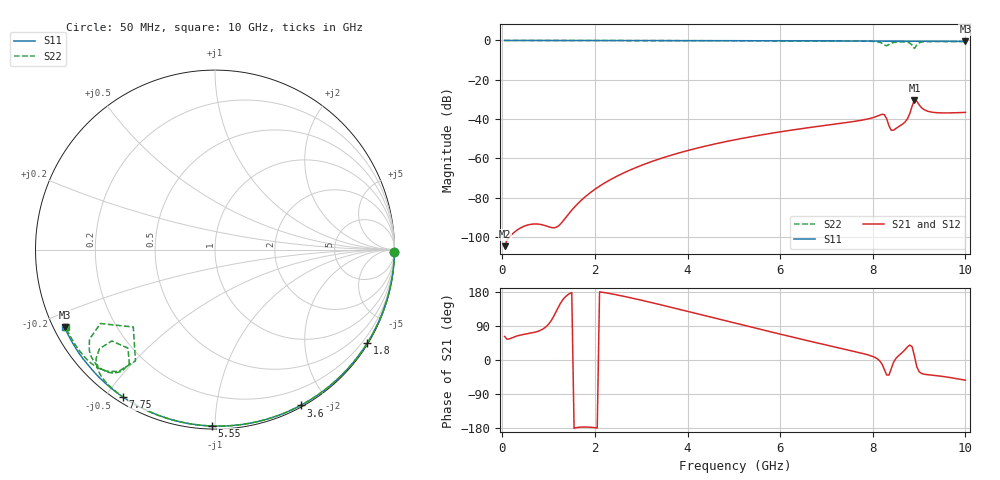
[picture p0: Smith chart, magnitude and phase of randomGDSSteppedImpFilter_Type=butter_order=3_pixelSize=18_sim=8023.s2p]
! freq	dB(S11)	phase(S11)	dB(S12)	phase(S12)
!  dB(S21)	phase(S21)	dB(S22)	phase(S22)
!S-par simulation data
#  GHz  S  DB  R 50
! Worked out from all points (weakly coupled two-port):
!   200 points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, 50 MHz to 10 GHz, reference 50 ohm
!   highest |S21| = -30.29 dB at 8.9 GHz (marker M1); lowest = -104.7 dB at 50 MHz (marker M2)
!   lowest |S11| = -0.5 dB at 10 GHz (marker M3), VSWR 34.12, Z = 1.55 - j12.2 ohm
!   |S11| at or under -10 dB: nowhere
!   |S22| runs from -4.1 to 0.0 dB; largest |S21 - S12| = 0
!   S11 on the Smith chart (normalised r, x): 50 MHz: open; 1.8 GHz: 0.03, -3.55; 3.6 GHz: 0.02, -1.69; 5.55 GHz: 0.02, -0.98; 7.75 GHz: 0.02, -0.55; 10 GHz: 0.03, -0.24
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0.05  -0.00 -0.9  -104.74 62.2  -104.74 62.2  -0.00 -0.9
1.75  -0.04 -30.6  -80.41 -176.8  -80.41 -176.8  -0.04 -30.9
1.8  -0.04 -31.4  -79.39 -176.8  -79.39 -176.8  -0.04 -31.7
2.5  -0.06 -43.3  -68.83 171.2  -68.83 171.2  -0.06 -43.7
3.4  -0.08 -58.0  -60.26 146.3  -60.26 146.3  -0.08 -58.6
3.6  -0.08 -61.2  -58.76 140.4  -58.76 140.4  -0.08 -61.9
5.05  -0.13 -83.7  -50.44 96.7  -50.44 96.7  -0.13 -84.7
5.55  -0.15 -91.1  -48.28 81.6  -48.28 81.6  -0.15 -92.3
6.7  -0.21 -107.5  -44.12 47.9  -44.12 47.9  -0.22 -109.5
7.75  -0.28 -122.0  -40.64 18.2  -40.64 18.2  -0.33 -126.4
8.15  -0.31 -127.5  -38.00 -2.4  -38.00 -2.4  -0.93 -137.5
8.25  -0.32 -128.9  -37.78 -24.8  -37.78 -24.8  -2.29 -138.5
8.35  -0.34 -130.2  -43.50 -39.8  -43.50 -39.8  -2.00 -126.9
8.45  -0.34 -131.6  -45.64 -5.6  -45.64 -5.6  -1.02 -129.3
8.7  -0.37 -135.0  -41.44 27.8  -41.44 27.8  -0.79 -138.8
8.8  -0.38 -136.3  -37.17 39.5  -37.17 39.5  -1.32 -144.5
8.85  -0.39 -137.0  -33.42 34.9  -33.42 34.9  -2.39 -147.2
8.9  -0.40 -137.6  -30.29 10.5  -30.29 10.5  -4.05 -136.5
8.95  -0.39 -138.3  -30.89 -17.8  -30.89 -17.8  -2.35 -125.5
9  -0.40 -139.0  -32.76 -30.6  -32.76 -30.6  -1.24 -128.4
9.25  -0.42 -142.4  -36.40 -39.5  -36.40 -39.5  -0.55 -138.8
10  -0.51 -152.6  -36.63 -53.4  -36.63 -53.4  -0.56 -152.5
